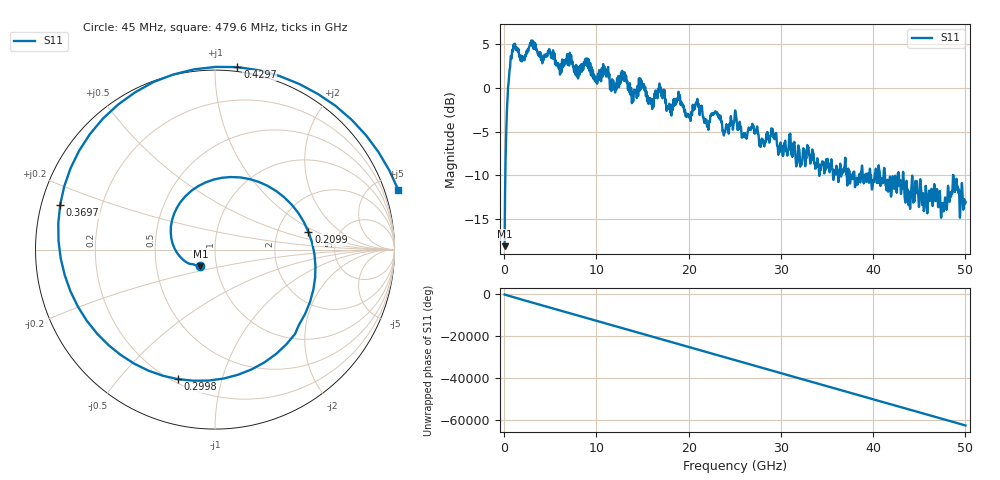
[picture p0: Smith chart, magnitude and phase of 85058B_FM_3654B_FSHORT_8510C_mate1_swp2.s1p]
!Created with skrf (http://scikit-rf.org).
# Hz S RI R 50.0
!freq ReS11 ImS11
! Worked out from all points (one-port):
!   10001 points, 45 MHz to 50 GHz, reference 50 ohm
!   lowest |S11| = -18.1 dB at 45 MHz (marker M1), VSWR 1.28, Z = 41.8 - j7.94 ohm
!   |S11| at or under -10 dB: 41.28 GHz to 42.66 GHz (1.379 GHz wide, 3.28 % of centre); 43.29 GHz to 48.67 GHz (5.381 GHz wide, 11.7 % of centre); 48.69 GHz to end of sweep (the widest 3 of 21)
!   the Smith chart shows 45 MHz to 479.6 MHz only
!   S11 on the Smith chart (normalised r, x): 45 MHz: 0.84, -0.16; 209.9 MHz: 3.00, +0.83; 299.8 MHz: 0.22, -0.73; 369.7 MHz: 0.05, +0.14; 429.7 MHz: -0.03, +1.13; 479.6 MHz: -1.37, +5.98
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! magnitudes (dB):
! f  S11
! 45 MHz  -18.1
! 209.9 MHz  -5.5
! 299.8 MHz  -2.5
! 369.7 MHz  -0.9
! 429.7 MHz  0.2
! 479.6 MHz  0.6
! 794.3 MHz  3.4
! 1.169 GHz  5.1
! 6.289 GHz  3.2
! 12.53 GHz  1.2
! 15.98 GHz  -1.4
! 16.88 GHz  -0.1
! 17.92 GHz  -1.9
! 18.78 GHz  -1.2
! 20.01 GHz  -3.1
! 20.91 GHz  -1.4
! 21.95 GHz  -3.9
! 23.07 GHz  -3.0
! 23.86 GHz  -5.2
! 25.02 GHz  -2.6
! 25.98 GHz  -5.2
! 31.27 GHz  -7.8
! 37.51 GHz  -10.9
! 43.76 GHz  -11.8
! 46.76 GHz  -13.0
! 47.54 GHz  -13.2
! 48.86 GHz  -11.9
! 50 GHz  -13.1
